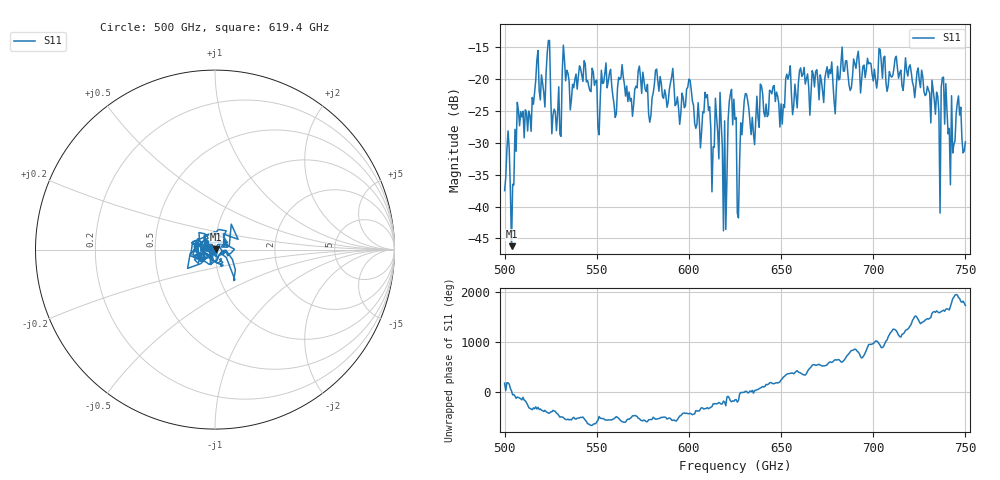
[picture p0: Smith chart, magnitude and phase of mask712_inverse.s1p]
!Created with skrf (http://scikit-rf.org).
# GHz S MA R 50.0
!freq magS11 angS11
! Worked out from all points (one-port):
!   401 points, 500 GHz to 750 GHz, reference 50 ohm
!   lowest |S11| = -46.2 dB at 503.8 GHz (marker M1), VSWR 1.01, Z = 50.4 + j0.198 ohm
!   |S11| at or under -10 dB: start of sweep to end of sweep
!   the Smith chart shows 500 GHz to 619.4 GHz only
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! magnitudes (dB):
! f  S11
! 500 GHz  -37.5
! 501.9 GHz  -28.1
! 503.8 GHz  -46.2
! 506.9 GHz  -23.6
! 517.5 GHz  -17.0
! 523.8 GHz  -13.9
! 526.9 GHz  -24.7
! 531.2 GHz  -19.0
! 560 GHz  -26.0
! 562.5 GHz  -20.0
! 593.8 GHz  -22.8
! 610 GHz  -22.4
! 612.5 GHz  -37.7
! 616.2 GHz  -32.5
! 619.4 GHz  -26.5
! 622.5 GHz  -22.4
! 625 GHz  -26.3
! 627.5 GHz  -32.9
! 631.2 GHz  -22.3
! 634.4 GHz  -26.0
! 656.2 GHz  -25.6
! 687.5 GHz  -21.8
! 718.8 GHz  -19.5
! 735 GHz  -22.7
! 738.1 GHz  -19.7
! 743.1 GHz  -31.6
! 746.2 GHz  -22.6
! 750 GHz  -29.8
